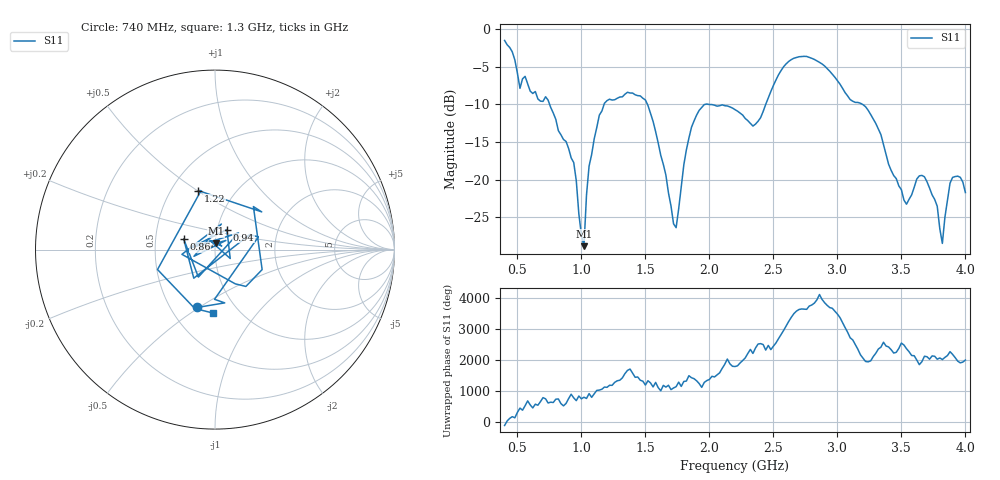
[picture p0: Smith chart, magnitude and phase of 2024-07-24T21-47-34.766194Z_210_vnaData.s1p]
!Created with skrf (http://scikit-rf.org).
# Hz S RI R 50.0
!freq ReS11 ImS11
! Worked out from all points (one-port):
!   181 points, 400 MHz to 4 GHz, reference 50 ohm
!   lowest |S11| = -28.9 dB at 1.02 GHz (marker M1), VSWR 1.07, Z = 50.5 + j3.59 ohm
!   |S11| at or under -10 dB: 1.516 GHz to 1.97 GHz (453.9 MHz wide, 26 % of centre); 1.991 GHz to 2.44 GHz (449.5 MHz wide, 20.3 % of centre); 3.195 GHz to end of sweep (the widest 3 of 4)
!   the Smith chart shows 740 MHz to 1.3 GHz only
!   S11 on the Smith chart (normalised r, x): 740 MHz: 0.68, -0.49; 860 MHz: 0.70, +0.09; 940 MHz: 1.11, +0.25; 1.22 GHz: 0.68, +0.50; 1.3 GHz: 0.76, -0.61
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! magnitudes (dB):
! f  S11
! 400 MHz  -1.5
! 520 MHz  -7.9
! 740 MHz  -9.5
! 860 MHz  -14.7
! 940 MHz  -17.7
! 1.02 GHz  -28.9
! 1.06 GHz  -18.2
! 1.14 GHz  -11.4
! 1.22 GHz  -9.3
! 1.3 GHz  -9.0
! 1.5 GHz  -9.4
! 1.66 GHz  -19.4
! 1.72 GHz  -25.9
! 1.76 GHz  -23.9
! 1.82 GHz  -16.1
! 1.92 GHz  -10.8
! 2.2 GHz  -10.7
! 2.36 GHz  -12.6
! 2.66 GHz  -3.9
! 2.88 GHz  -4.6
! 3.1 GHz  -9.4
! 3.26 GHz  -11.4
! 3.56 GHz  -22.6
! 3.68 GHz  -19.6
! 3.78 GHz  -23.5
! 3.82 GHz  -28.5
! 3.9 GHz  -19.7
! 4 GHz  -21.7
